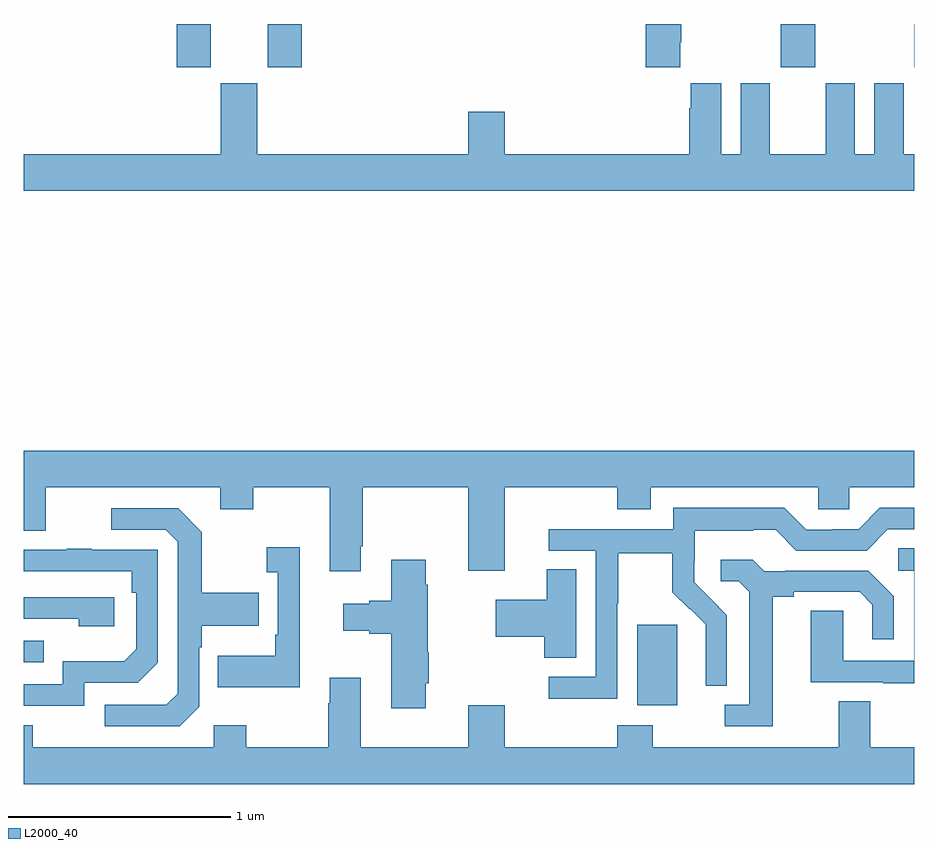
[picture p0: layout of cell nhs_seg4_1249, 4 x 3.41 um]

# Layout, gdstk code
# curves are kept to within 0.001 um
import gdstk
lib = gdstk.Library(unit=1e-6, precision=1e-09)
def R(c, l, rs):  # rectangles x0, y0, x1, y1
    for r in rs: c.add(gdstk.rectangle(r[:2], r[2:], *l))
def P(c, l, *ps):  # polygons
    for p in ps: c.add(gdstk.Polygon(p, *l))
L2000_40 = (2000, 40)

nhs_seg4_1249 = lib.new_cell('nhs_seg4_1249')
R(nhs_seg4_1249, L2000_40, [(177.755,795.842,177.934,796.203), (175,796.035,175.091,796.131), (175.688,798.705,175.84,798.9), (176.096,798.705,176.249,798.9), (178.399,798.705,178.554,798.9), (178.999,798.705,179,798.9)])
P(nhs_seg4_1249, L2000_40, [(177.949,798.817),(177.954,798.817),(177.954,798.9),(177.794,798.9),(177.794,798.705),(177.949,798.705)],
  [(179,798.316),(178.951,798.316),(178.951,798.634),(178.82,798.634),(178.82,798.316),(178.732,798.316),(178.732,798.634),(178.601,798.634),(178.601,798.316),(178.351,798.316),(178.351,798.634),(178.22,798.634),(178.22,798.316),(178.132,798.316),(178.132,798.634),(177.995,798.634),(177.995,798.521),(177.989,798.521),(177.989,798.316),(177.16,798.316),(177.16,798.505),(176.996,798.505),(176.996,798.316),(176.05,798.316),(176.05,798.633),(175.886,798.633),(175.886,798.316),(175,798.316),(175,798.152),(179,798.152)],
  [(176.515,796.555),(176.523,796.555),(176.523,796.82),(176.996,796.82),(176.996,796.446),(177.16,796.446),(177.16,796.82),(177.665,796.82),(177.665,796.721),(177.817,796.721),(177.817,796.82),(178.569,796.82),(178.569,796.722),(178.707,796.722),(178.707,796.82),(179,796.82),(179,796.984),(175,796.984),(175,796.626),(175.099,796.626),(175.099,796.82),(175.883,796.82),(175.883,796.721),(176.031,796.721),(176.031,796.82),(176.375,796.82),(176.375,796.443),(176.515,796.443)],
  [(177.666,796.3),(177.669,796.3),(177.669,796.524),(177.913,796.524),(177.913,796.349),(177.99,796.272),(177.993,796.275),(178.064,796.205),(178.064,796.082),(178.062,796.082),(178.062,795.928),(178.158,795.928),(178.158,796.246),(178.012,796.394),(178.012,796.491),(178.014,796.491),(178.014,796.625),(178.277,796.625),(178.277,796.629),(178.377,796.629),(178.47,796.536),(178.785,796.536),(178.881,796.632),(179,796.632),(179,796.728),(178.845,796.728),(178.749,796.632),(178.631,796.632),(178.631,796.629),(178.515,796.629),(178.415,796.729),(177.918,796.729),(177.918,796.632),(177.357,796.632),(177.357,796.536),(177.57,796.536),(177.57,795.969),(177.357,795.969),(177.357,795.871),(177.666,795.871)],
  [(175.788,795.834),(175.788,796.103),(175.801,796.103),(175.801,796.199),(176.057,796.199),(176.057,796.347),(175.801,796.347),(175.801,796.619),(175.695,796.725),(175.395,796.725),(175.395,796.629),(175.638,796.629),(175.692,796.575),(175.692,795.894),(175.641,795.843),(175.365,795.843),(175.365,795.747),(175.701,795.747)],
  [(176.24,796.552),(176.091,796.552),(176.091,796.439),(176.142,796.439),(176.142,796.159),(176.13,796.159),(176.13,796.063),(175.873,796.063),(175.873,795.923),(176.24,795.923)],
  [(179,796.547),(178.926,796.547),(178.926,796.446),(178.998,796.446),(178.998,796.041),(178.68,796.041),(178.68,796.265),(178.535,796.265),(178.535,795.945),(178.859,795.945),(178.859,795.941),(179,795.941)],
  [(175.272,795.942),(175.512,795.942),(175.602,796.032),(175.602,796.539),(175.307,796.539),(175.307,796.544),(175.195,796.544),(175.195,796.539),(175,796.539),(175,796.443),(175.486,796.443),(175.486,796.346),(175.506,796.346),(175.506,796.092),(175.453,796.039),(175.176,796.039),(175.176,795.936),(175,795.936),(175,795.84),(175.272,795.84)],
  [(176.806,795.94),(176.819,795.94),(176.819,796.079),(176.814,796.079),(176.814,796.382),(176.806,796.382),(176.806,796.495),(176.651,796.495),(176.651,796.31),(176.552,796.31),(176.552,796.297),(176.436,796.297),(176.436,796.175),(176.552,796.175),(176.552,796.163),(176.651,796.163),(176.651,795.828),(176.806,795.828)],
  [(178.363,796.328),(178.459,796.328),(178.459,796.35),(178.754,796.35),(178.811,796.293),(178.811,796.137),(178.908,796.137),(178.908,796.33),(178.792,796.446),(178.42,796.446),(178.42,796.443),(178.326,796.443),(178.274,796.495),(178.131,796.495),(178.131,796.398),(178.212,796.398),(178.259,796.351),(178.259,795.843),(178.149,795.843),(178.149,795.747),(178.363,795.747)],
  [(177.481,796.451),(177.35,796.451),(177.35,796.315),(177.12,796.315),(177.12,796.15),(177.338,796.15),(177.338,796.054),(177.481,796.054)],
  [(175.408,796.326),(175,796.326),(175,796.23),(175.247,796.23),(175.247,796.196),(175.408,796.196)],
  [(179,795.652),(178.801,795.652),(178.801,795.86),(178.661,795.86),(178.661,795.652),(177.825,795.652),(177.825,795.751),(177.665,795.751),(177.665,795.652),(177.16,795.652),(177.16,795.841),(176.996,795.841),(176.996,795.652),(176.515,795.652),(176.515,795.964),(176.375,795.964),(176.375,795.851),(176.368,795.851),(176.368,795.652),(176.001,795.652),(176.001,795.751),(175.854,795.751),(175.854,795.652),(175.041,795.652),(175.041,795.751),(175,795.751),(175,795.488),(179,795.488)])

lib.write_gds('nhs_seg4_1249.gds')
